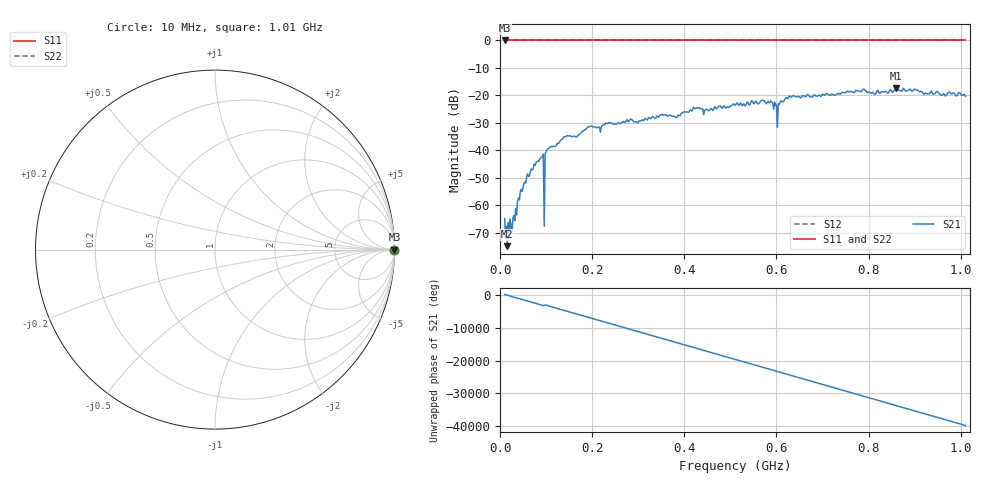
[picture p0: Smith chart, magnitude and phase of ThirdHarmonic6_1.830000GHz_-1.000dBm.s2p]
! 8/16/2025 10:10:06 PM
! C:\ANRITSUVNA\TEMP\TEMP.S2P
! CHANNEL.1
! TR.MEASUREMENT
! RAW.DATA
! RF.CORRECTION.OFF
! AVERAGING.OFF
! IF.BANDWIDTH: 5KHZ
! SWEEPTYPE:  FREQ.SWEEP(Linear)
! Reference Plane Port Info
! PORT:  PORT1  PORT2
! DISTANCE:  0  m  0  m
! TIME:  0  s  0  s
! PHASE.OFFSET:  0  deg.  0  deg.
! LOSS:  0  dB  0  dB
! REF.LOSS:  0  dB  0  dB
! REF.FREQ:  0  Hz  0  Hz
! Power Info
! POWER:  -20  dBm  -20  dBm
! EFF.POWER:  -20  dBm  -20  dBm
! SOURCE.ATTEN:  0  dB  0  dB
! TEST.ATTEN:  0  dB  0  dB
# GHZ S RI R 50.0
! FREQ.GHZ  S11RE  S11IM  S21RE  S21IM  S12RE  S12IM  S22RE  S22IM
!; PortSelection: Port_12
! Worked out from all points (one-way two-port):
!   501 points, 10 MHz to 1.01 GHz, reference 50 ohm
!   highest |S21| = -17.41 dB at 860 MHz (marker M1); lowest = -74.9 dB at 16 MHz (marker M2)
!   lowest |S11| = 0.0 dB at 10 MHz (marker M3)
!   |S11| at or under -10 dB: nowhere
!   |S22| runs from 0.0 to 0.0 dB; largest |S21 - S12| = 1.1
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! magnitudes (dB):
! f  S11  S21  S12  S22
! 10 MHz  0.0  -64.8  0.0  0.0
! 16 MHz  0.0  -74.9  0.0  0.0
! 28 MHz  0.0  -64.8  0.0  0.0
! 48 MHz  0.0  -55.0  0.0  0.0
! 78 MHz  0.0  -44.6  0.0  0.0
! 90 MHz  0.0  -42.6  0.0  0.0
! 92 MHz  0.0  -42.2  0.0  0.0
! 100 MHz  0.0  -40.5  0.0  0.0
! 102 MHz  0.0  -39.9  0.0  0.0
! 106 MHz  0.0  -39.3  0.0  0.0
! 178 MHz  0.0  -33.2  0.0  0.0
! 196 MHz  0.0  -31.2  0.0  0.0
! 344 MHz  0.0  -27.9  0.0  0.0
! 510 MHz  0.0  -23.6  0.0  0.0
! 570 MHz  0.0  -21.8  0.0  0.0
! 592 MHz  0.0  -22.9  0.0  0.0
! 598 MHz  0.0  -23.6  0.0  0.0
! 624 MHz  0.0  -21.2  0.0  0.0
! 678 MHz  0.0  -20.6  0.0  0.0
! 844 MHz  0.0  -18.8  0.0  0.0
! 860 MHz  0.0  -17.4  0.0  0.0
! 1.01 GHz  0.0  -20.3  0.0  0.0
